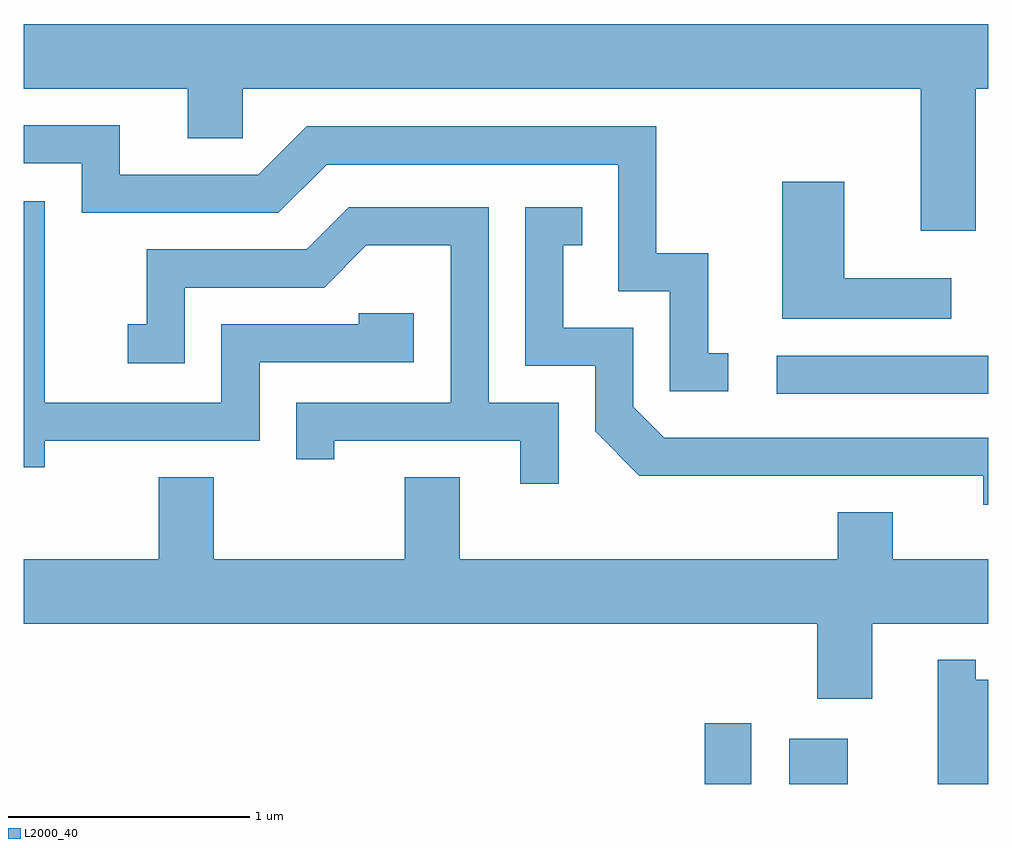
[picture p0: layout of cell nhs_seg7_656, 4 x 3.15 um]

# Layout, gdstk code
import gdstk
lib = gdstk.Library(unit=1e-6, precision=1e-09)
def R(c, l, rs):  # rectangles x0, y0, x1, y1
    for r in rs: c.add(gdstk.rectangle(r[:2], r[2:], *l))
def P(c, l, *ps):  # polygons
    for p in ps: c.add(gdstk.Polygon(p, *l))
L2000_40 = (2000, 40)

nhs_seg7_656 = lib.new_cell('nhs_seg7_656')
R(nhs_seg7_656, L2000_40, [(206.436,1780.252,206.629,1780.504), (206.786,1780.252,207.029,1780.439), (206.733,1781.871,207.611,1782.029)])
P(nhs_seg7_656, L2000_40, [(207.559,1783.136),(207.611,1783.136),(207.611,1783.404),(203.611,1783.404),(203.611,1783.136),(204.291,1783.136),(204.291,1782.931),(204.519,1782.931),(204.519,1783.136),(207.331,1783.136),(207.331,1782.546),(207.559,1782.546)],
  [(206.533,1782.039),(206.449,1782.039),(206.449,1782.454),(206.234,1782.454),(206.234,1782.979),(204.784,1782.979),(204.584,1782.779),(204.009,1782.779),(204.009,1782.984),(203.611,1782.984),(203.611,1782.826),(203.851,1782.826),(203.851,1782.621),(204.667,1782.621),(204.867,1782.821),(206.076,1782.821),(206.076,1782.296),(206.291,1782.296),(206.291,1781.881),(206.533,1781.881)],
  [(207.458,1782.349),(207.014,1782.349),(207.014,1782.749),(206.756,1782.749),(206.756,1782.181),(207.458,1782.181)],
  [(203.699,1781.676),(204.589,1781.676),(204.589,1782.001),(205.229,1782.001),(205.229,1782.204),(205.001,1782.204),(205.001,1782.159),(204.431,1782.159),(204.431,1781.834),(203.699,1781.834),(203.699,1782.669),(203.611,1782.669),(203.611,1781.566),(203.699,1781.566)],
  [(207.611,1781.689),(206.267,1781.689),(206.139,1781.817),(206.139,1782.144),(205.849,1782.144),(205.849,1782.486),(205.928,1782.486),(205.928,1782.644),(205.691,1782.644),(205.691,1781.986),(205.981,1781.986),(205.981,1781.714),(206.164,1781.531),(207.591,1781.531),(207.591,1781.411),(207.611,1781.411)],
  [(205.829,1781.834),(205.539,1781.834),(205.539,1782.644),(204.959,1782.644),(204.784,1782.469),(204.121,1782.469),(204.121,1782.159),(204.043,1782.159),(204.043,1781.996),(204.279,1781.996),(204.279,1782.311),(204.857,1782.311),(205.032,1782.486),(205.381,1782.486),(205.381,1781.834),(204.741,1781.834),(204.741,1781.598),(204.899,1781.598),(204.899,1781.676),(205.671,1781.676),(205.671,1781.498),(205.829,1781.498)],
  [(207.129,1780.916),(207.611,1780.916),(207.611,1781.184),(207.214,1781.184),(207.214,1781.379),(206.986,1781.379),(206.986,1781.184),(205.419,1781.184),(205.419,1781.524),(205.191,1781.524),(205.191,1781.184),(204.399,1781.184),(204.399,1781.524),(204.171,1781.524),(204.171,1781.184),(203.611,1781.184),(203.611,1780.916),(206.901,1780.916),(206.901,1780.606),(207.129,1780.606)],
  [(207.611,1780.684),(207.559,1780.684),(207.559,1780.768),(207.401,1780.768),(207.401,1780.252),(207.611,1780.252)])

lib.write_gds('nhs_seg7_656.gds')
